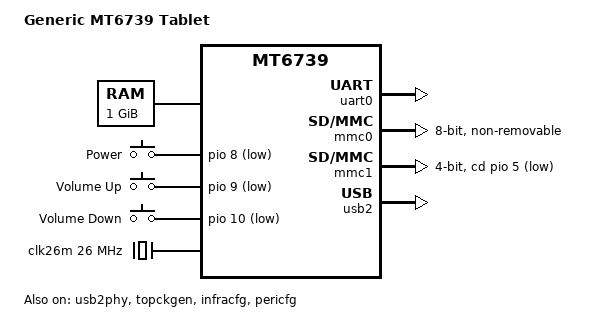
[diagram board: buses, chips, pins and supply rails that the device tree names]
// SPDX-License-Identifier: GPL-2.0
/*
 * Copyright (c) 2024 Generic MT6739 tablet
 */

/dts-v1/;

#include "mt6739.dtsi"
#include <dt-bindings/gpio/gpio.h>
#include <dt-bindings/input/input.h>
#include <dt-bindings/pinctrl/mt65xx.h>

/ {
    model = "Generic MT6739 Tablet";
    compatible = "generic,mt6739-tablet", "mediatek,mt6739";

    aliases {
        serial0 = &uart0;
        mmc0 = &mmc0;
        mmc1 = &mmc1;
    };

    chosen {
        stdout-path = "serial0:115200n8";
    };

    memory@40000000 {
        device_type = "memory";
        reg = <0 0x40000000 0 0x40000000>; /* 1GB RAM */
    };

    reserved-memory {
        #address-cells = <2>;
        #size-cells = <2>;
        ranges;

        /* Reserve 16MB at the end for firmware */
        firmware@7f000000 {
            reg = <0 0x7f000000 0 0x01000000>;
            no-map;
        };
    };

    gpio-keys {
        compatible = "gpio-keys";

        power {
            label = "Power";
            gpios = <&pio 8 GPIO_ACTIVE_LOW>;
            linux,code = <KEY_POWER>;
            wakeup-source;
        };

        volume-up {
            label = "Volume Up";
            gpios = <&pio 9 GPIO_ACTIVE_LOW>;
            linux,code = <KEY_VOLUMEUP>;
        };

        volume-down {
            label = "Volume Down";
            gpios = <&pio 10 GPIO_ACTIVE_LOW>;
            linux,code = <KEY_VOLUMEDOWN>;
        };
    };

    fixed_clks: fixed-clocks {
        compatible = "simple-bus";
        #address-cells = <1>;
        #size-cells = <0>;

        clk26m: oscillator-26000000hz {
            compatible = "fixed-clock";
            #clock-cells = <0>;
            clock-frequency = <26000000>;
            clock-output-names = "clk26m";
        };
    };
};

&pio {
    uart0_pins: uart0-pins {
        pins_tx_rx {
            pinmux = <PINMUX_GPIO20__FUNC_UART0TX>,
                     <PINMUX_GPIO21__FUNC_UART0RX>;
        };
    };

    mmc0_pins_default: mmc0-default-pins {
        pins_cmd_clk_dat_rst {
            pinmux = <PINMUX_GPIO38__FUNC_MSDC0_CMD>,
                     <PINMUX_GPIO39__FUNC_MSDC0_DSL>,
                     <PINMUX_GPIO40__FUNC_MSDC0_CLK>,
                     <PINMUX_GPIO41__FUNC_MSDC0_DAT0>,
                     <PINMUX_GPIO42__FUNC_MSDC0_DAT1>,
                     <PINMUX_GPIO43__FUNC_MSDC0_DAT2>,
                     <PINMUX_GPIO44__FUNC_MSDC0_DAT3>,
                     <PINMUX_GPIO45__FUNC_MSDC0_DAT4>,
                     <PINMUX_GPIO46__FUNC_MSDC0_DAT5>,
                     <PINMUX_GPIO47__FUNC_MSDC0_DAT6>,
                     <PINMUX_GPIO48__FUNC_MSDC0_DAT7>,
                     <PINMUX_GPIO49__FUNC_MSDC0_RSTB>;
            input-enable;
            drive-strength = <MTK_DRIVE_6mA>;
            bias-pull-up = <MTK_PUPD_SET_R1R0_01>;
        };
    };

    mmc1_pins_default: mmc1-default-pins {
        pins_cmd_clk_dat {
            pinmux = <PINMUX_GPIO71__FUNC_MSDC1_CMD>,
                     <PINMUX_GPIO72__FUNC_MSDC1_CLK>,
                     <PINMUX_GPIO73__FUNC_MSDC1_DAT0>,
                     <PINMUX_GPIO74__FUNC_MSDC1_DAT1>,
                     <PINMUX_GPIO75__FUNC_MSDC1_DAT2>,
                     <PINMUX_GPIO76__FUNC_MSDC1_DAT3>;
            input-enable;
            drive-strength = <MTK_DRIVE_6mA>;
            bias-pull-up = <MTK_PUPD_SET_R1R0_01>;
        };
    };
};

&uart0 {
    pinctrl-names = "default";
    pinctrl-0 = <&uart0_pins>;
    status = "okay";
};

&mmc0 {
    pinctrl-names = "default";
    pinctrl-0 = <&mmc0_pins_default>;
    bus-width = <8>;
    max-frequency = <200000000>;
    cap-mmc-highspeed;
    mmc-hs200-1_8v;
    cap-mmc-hw-reset;
    non-removable;
    status = "okay";
};

&mmc1 {
    pinctrl-names = "default";
    pinctrl-0 = <&mmc1_pins_default>;
    bus-width = <4>;
    max-frequency = <200000000>;
    cap-sd-highspeed;
    sd-uhs-sdr104;
    cd-gpios = <&pio 5 GPIO_ACTIVE_LOW>;
    status = "okay";
};

&usb2 {
    status = "okay";
};

&usb2phy {
    status = "okay";
};

/* Enable topckgen, infracfg, pericfg clocks */
&topckgen {
    status = "okay";
};

&infracfg {
    status = "okay";
};

&pericfg {
    status = "okay";
};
